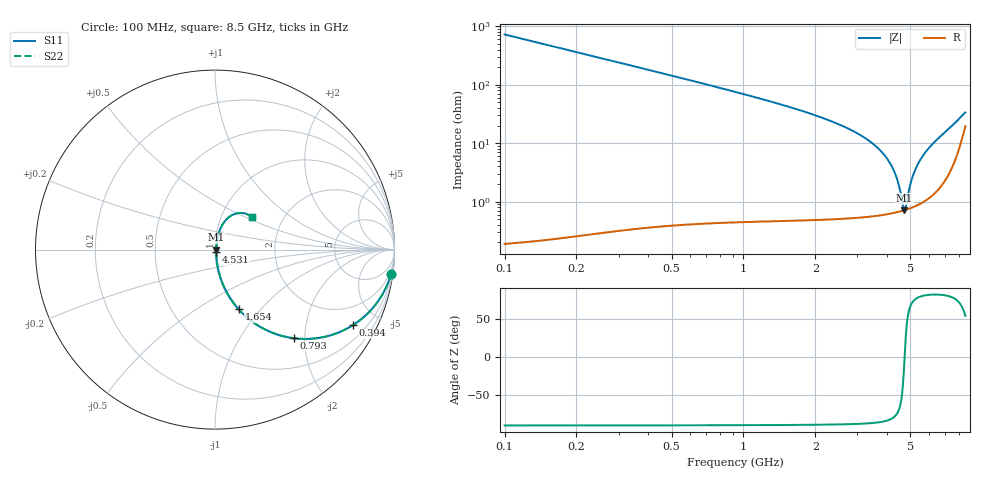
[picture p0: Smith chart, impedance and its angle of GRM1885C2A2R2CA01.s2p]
!Murata Part Number: GRM1885C2A2R2CA01
!These Parameters are Measured in Series Mode Connection
!Data Generated on Mar 30, 2021
!  o--ll--o
!Port1  Port2
!  o------o
!Operation Temp=25[degC], DC Bias Voltage=0[V]
!Freq. Start=100[MHz] Stop=9[GHz] 401[Steps]
# Hz S RI R 50
!Freq.(Hz) S11(Real) S11(Imag) S21(Real) S21(Imag) S12(Real) S12(Imag) S22(Real) S22(Imag)
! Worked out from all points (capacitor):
!   401 points, 100 MHz to 8.5 GHz, reference 50 ohm
!   read as one part in series: C = 2.2 pF near 142 MHz
!   lowest |Z| = 715 mohm at 4.72 GHz (marker M1)
!   series resonance near 4.73 GHz, so ESL is about 510 pH
!   S11 on the Smith chart (normalised r, x): 100 MHz: 1, -14; 394 MHz: 1.01, -3.65; 793 MHz: 1.01, -1.77; 1.654 GHz: 1.01, -0.77; 4.531 GHz: 1.01, -0.03; 8.5 GHz: 1.39, +0.55
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1e8  0.9812 -0.1357  0.0188 0.1357  0.0188 0.1357  0.9812 -0.1357
2.47e8  0.8948 -0.3064  0.1052 0.3064  0.1052 0.3064  0.8948 -0.3064
3.94e8  0.7682 -0.421  0.2318 0.421  0.2318 0.421  0.7682 -0.421
5.83e8  0.5985 -0.4885  0.4015 0.4885  0.4015 0.4885  0.5985 -0.4885
7.93e8  0.4405 -0.494  0.5595 0.494  0.5595 0.494  0.4405 -0.494
1.108e9  0.2778 -0.4443  0.7222 0.4443  0.7222 0.4443  0.2778 -0.4443
1.507e9  0.1605 -0.3618  0.8395 0.3618  0.8395 0.3618  0.1605 -0.3618
1.654e9  0.1326 -0.333  0.8674 0.333  0.8674 0.333  0.1326 -0.333
2.914e9  0.0289 -0.1516  0.9711 0.1516  0.9711 0.1516  0.0289 -0.1516
3.775e9  0.0109 -0.0708  0.9891 0.0708  0.9891 0.0708  0.0109 -0.0708
4.3e9  0.00733 -0.0302  0.9927 0.0302  0.9927 0.0302  0.00733 -0.0302
4.531e9  0.00693 -0.0137  0.9931 0.0137  0.9931 0.0137  0.00693 -0.0137
4.657e9  0.00698 -0.00498  0.993 0.00498  0.993 0.00498  0.00698 -0.00498
4.72e9  0.00707 -0.000679  0.9929 0.000679  0.9929 0.000679  0.00707 -0.000679
4.783e9  0.0072 0.00358  0.9928 -0.00358  0.9928 -0.00358  0.0072 0.00358
4.972e9  0.00785 0.0161  0.9922 -0.0161  0.9922 -0.0161  0.00785 0.0161
5.14e9  0.00873 0.0271  0.9913 -0.0271  0.9913 -0.0271  0.00873 0.0271
5.392e9  0.0106 0.0431  0.9894 -0.0431  0.9894 -0.0431  0.0106 0.0431
5.707e9  0.0139 0.0628  0.9861 -0.0628  0.9861 -0.0628  0.0139 0.0628
6.295e9  0.0235 0.099  0.9765 -0.099  0.9765 -0.099  0.0235 0.099
7.114e9  0.049 0.1507  0.951 -0.1507  0.951 -0.1507  0.049 0.1507
8.5e9  0.2048 0.1815  0.7952 -0.1815  0.7952 -0.1815  0.2048 0.1815
